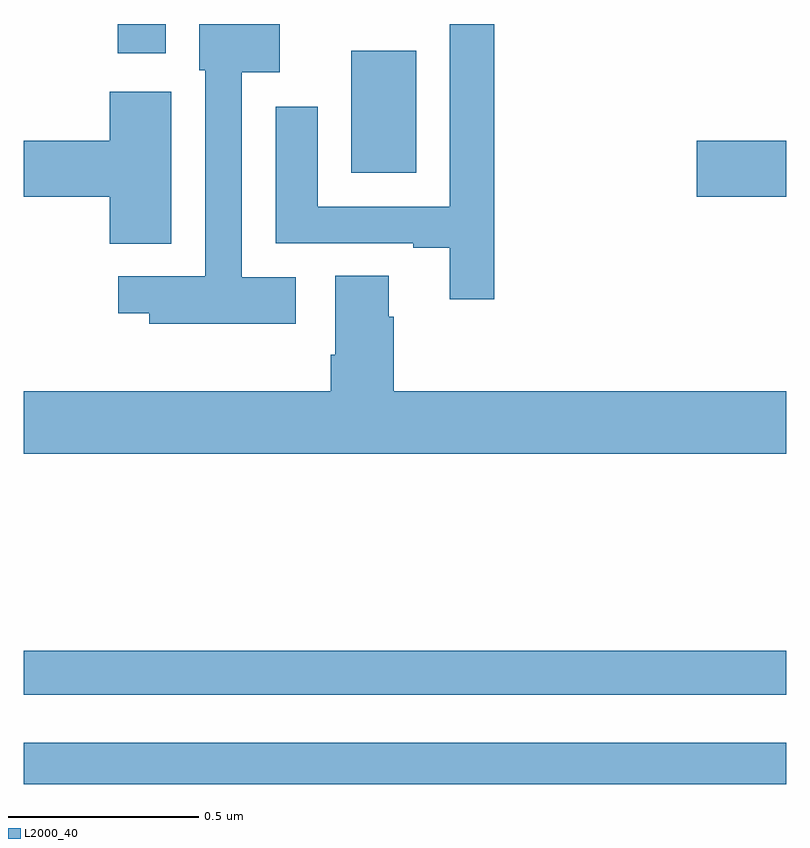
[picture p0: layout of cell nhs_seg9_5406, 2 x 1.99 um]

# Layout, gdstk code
import gdstk
lib = gdstk.Library(unit=1e-6, precision=1e-09)
def R(c, l, rs):  # rectangles x0, y0, x1, y1
    for r in rs: c.add(gdstk.rectangle(r[:2], r[2:], *l))
def P(c, l, *ps):  # polygons
    for p in ps: c.add(gdstk.Polygon(p, *l))
L2000_40 = (2000, 40)

nhs_seg9_5406 = lib.new_cell('nhs_seg9_5406')
R(nhs_seg9_5406, L2000_40, [(178,1243.506,180,1243.614), (178,1243.74,180,1243.856), (179.766,1245.047,180,1245.194), (178.859,1245.11,179.029,1245.43), (178.247,1245.423,178.372,1245.5)])
P(nhs_seg9_5406, L2000_40, [(179.234,1245.5),(179.118,1245.5),(179.118,1245.021),(178.771,1245.021),(178.771,1245.283),(178.661,1245.283),(178.661,1244.925),(179.021,1244.925),(179.021,1244.913),(179.117,1244.913),(179.117,1244.778),(179.234,1244.778)],
  [(178.714,1244.836),(178.572,1244.836),(178.572,1245.374),(178.672,1245.374),(178.672,1245.5),(178.46,1245.5),(178.46,1245.378),(178.476,1245.378),(178.476,1244.838),(178.248,1244.838),(178.248,1244.741),(178.329,1244.741),(178.329,1244.714),(178.714,1244.714)],
  [(178.387,1245.322),(178.226,1245.322),(178.226,1245.194),(178,1245.194),(178,1245.047),(178.226,1245.047),(178.226,1244.923),(178.387,1244.923)],
  [(180,1244.536),(178.97,1244.536),(178.97,1244.732),(178.957,1244.732),(178.957,1244.84),(178.817,1244.84),(178.817,1244.632),(178.805,1244.632),(178.805,1244.536),(178,1244.536),(178,1244.372),(180,1244.372)])

lib.write_gds('nhs_seg9_5406.gds')
